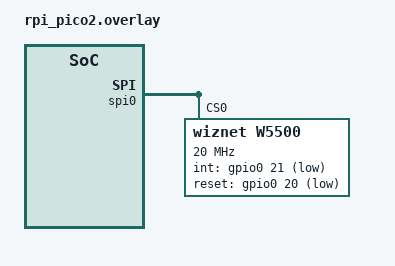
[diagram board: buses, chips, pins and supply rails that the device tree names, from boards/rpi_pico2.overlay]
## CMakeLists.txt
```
# SPDX-License-Identifier: Apache-2.0

cmake_minimum_required(VERSION 3.20.0)

find_package(Zephyr REQUIRED HINTS $ENV{ZEPHYR_BASE})
project(hello_world)

add_subdirectory(src)

add_llext_target(
  extension1
  OUTPUT ext1.llext
  SOURCES ./src/ext1.c ./src/embench/beebsc.c
)
```

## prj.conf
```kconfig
CONFIG_LLEXT=y
CONFIG_LLEXT_HEAP_SIZE=16
CONFIG_LLEXT_TYPE_ELF_RELOCATABLE=y # supported by all targets

# Dejar activado para rpi_pico2
CONFIG_BOOTLOADER_REGION_PROTECTION_ENABLE=n
CONFIG_MAIN_STACK_SIZE=4096

CONFIG_LOG=y
CONFIG_LLEXT_LOG_LEVEL_DBG=n

CONFIG_NETWORKING=y
CONFIG_NET_IPV4=y
CONFIG_NET_IPV6=n  # enable if needed
CONFIG_NET_DHCPV4=y
# CONFIG_WIFI=y
CONFIG_EXECUTE_XOR_WRITE=n

CONFIG_NET_MGMT=y
#CONFIG_ETHERNET=1
CONFIG_NET_SOCKETS=y
CONFIG_POSIX_API=y
CONFIG_MAX_THREAD_BYTES=3


#CONFIG_ENTROPY_GENERATOR=y
#CONFIG_ENTROPY_DEVICE_RANDOM_GENERATOR=y
#
# La rpi pico no tiene hardware para generar
# aleatoriedad, por lo que hay que poner esta
# opción para generarlos via software. (No es
# seguro)
CONFIG_TEST_RANDOM_GENERATOR=y 


CONFIG_MPU=y
CONFIG_ARM_MPU=y
CONFIG_USERSPACE=y
CONFIG_DYNAMIC_THREAD=y
CONFIG_DYNAMIC_THREAD_ALLOC=y
# Supongo que solo puede haber 8 hilos
# por limitación MPU
CONFIG_DYNAMIC_THREAD_POOL_SIZE=8
CONFIG_LLEXT_HEAP_DYNAMIC=y
CONFIG_LLEXT_EDK_USERSPACE_ONLY=y

#CONFIG_MPU_LOG_LEVEL_DBG=y
#CONFIG_LOG_MODE_IMMEDIATE=y
CONFIG_APPLICATION_DEFINED_SYSCALL=y
# Temporal, no se como hacerlo de otra forma
CONFIG_EMIT_ALL_SYSCALLS=y
#CONFIG_COMMON_LIBC_MALLOC_ARENA_SIZE=4096
CONFIG_HEAP_MEM_POOL_SIZE=4096


CONFIG_ZBUS=y
CONFIG_ZBUS_LOG_LEVEL_INF=y
CONFIG_ZBUS_CHANNEL_NAME=y
CONFIG_ZBUS_OBSERVER_NAME=y
CONFIG_ZBUS_RUNTIME_OBSERVERS=y
CONFIG_ZBUS_ASYNC_LISTENER=y
CONFIG_ZBUS_RUNTIME_OBSERVERS_NODE_ALLOC_DYNAMIC=y
CONFIG_ZBUS_RUNTIME_OBSERVERS=y

CONFIG_NUM_MBOX_ASYNC_MSGS=10
CONFIG_HTTP_CLIENT=y

CONFIG_NET_L2_ETHERNET=y
```

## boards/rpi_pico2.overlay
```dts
/ {
    aliases {
        ethernet0 = &w5500;
    };
};

&spi0 {
    status = "okay";

    w5500: ethernet@0 {
        compatible = "wiznet,w5500";
        reg = <0>;
        spi-max-frequency = <20000000>;
        int-gpios = <&gpio0 21 GPIO_ACTIVE_LOW>;
        reset-gpios = <&gpio0 20 GPIO_ACTIVE_LOW>;
        status = "okay";
    };
};
```

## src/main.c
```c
#include <zephyr/logging/log.h>
#include <zephyr/kernel.h>
#include <zephyr/net/net_if.h>
#include <zephyr/net/net_ip.h>
#include "./llextc/llextc.h"
#include "oci/parser.h"
#include "neta/wifi.h"
#include "neta/http.h"

	#include <zephyr/kernel.h>
#include <zephyr/net/net_if.h>
#include <zephyr/net/net_ip.h>
#include <zephyr/net/net_core.h>

LOG_MODULE_REGISTER(app);


//void entry(void *ext_start, void *p2, void *p3) {
//
//	LOG_INF("ext start: %p, memoria :%p", ext_start, user_mem);
//	void (*start)() = ext_start; 
//	start();
//}

int main(void) {

	struct oci_ref_t oci;
	oci_error_t res = parse_oci_ref("gulis/temporal:2.0", &oci);
	LOG_INF("Nombre: %s", oci.namespace);
	LOG_INF("Digest: %s", oci.digest);
	LOG_INF("Tag: %s", oci.tag);
	LOG_INF("Registry: %s", oci.registry);
	LOG_INF("Repository: %s", oci.repository);

	configure_static_ip();
	k_msleep(5000);
	//run_queries();
	//
	
	 struct net_if *iface = net_if_get_default();
	struct net_if_addr *addr;
    char buf[NET_IPV4_ADDR_LEN];

	//LOG_INF("Hola!");
	//if (llextc_init()) {
	//	LOG_ERR("Failed to init llextc");
	//	return 1;
	//}
	//if (llextc_container_run("1_contenedor", "imagen_prueba")) {
	//	LOG_ERR("llextc_run_image failed");
	//}

	/* if (llextc_container_run("2_contenedor", "imagen_prueba")) { */
	/* 	LOG_ERR("llextc_run_image failed"); */
	/* } */
	//LOG_INF("Adios!");
	//   struct http_client_req req;


	return 0;
}
```

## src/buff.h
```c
unsigned char ext1_buf[] = {
  0x7f, 0x45, 0x4c, 0x46, 0x01, 0x01, 0x01, 0x00, 0x00, 0x00, 0x00, 0x00,
  0x00, 0x00, 0x00, 0x00, 0x01, 0x00, 0x28, 0x00, 0x01, 0x00, 0x00, 0x00,
  0x00, 0x00, 0x00, 0x00, 0x00, 0x00, 0x00, 0x00, 0xc0, 0x06, 0x00, 0x00,
  0x00, 0x00, 0x00, 0x05, 0x34, 0x00, 0x00, 0x00, 0x00, 0x00, 0x28, 0x00,
  0x0d, 0x00, 0x0c, 0x00, 0x80, 0xb5, 0x00, 0xaf, 0x03, 0x49, 0x04, 0x48,
  0x04, 0x4b, 0x98, 0x47, 0x00, 0x23, 0x18, 0x46, 0x80, 0xbd, 0x00, 0xbf,
  0x00, 0x00, 0x00, 0x00, 0x00, 0x00, 0x00, 0x00, 0x00, 0x00, 0x00, 0x00,
  0x80, 0xb4, 0x00, 0xaf, 0x03, 0x4b, 0x1b, 0x68, 0x1b, 0x14, 0x18, 0x46,
  0xbd, 0x46, 0x5d, 0xf8, 0x04, 0x7b, 0x70, 0x47, 0x00, 0x00, 0x00, 0x00,
  0x80, 0xb4, 0x83, 0xb0, 0x00, 0xaf, 0x78, 0x60, 0x00, 0xbf, 0x0c, 0x37,
  0xbd, 0x46, 0x5d, 0xf8, 0x04, 0x7b, 0x70, 0x47, 0x80, 0xb4, 0x83, 0xb0,
  0x00, 0xaf, 0x78, 0x60, 0x39, 0x60, 0x09, 0x4a, 0x7b, 0x68, 0x13, 0x60,
  0x07, 0x4b, 0x1a, 0x68, 0x3b, 0x68, 0x13, 0x44, 0x06, 0x4a, 0x13, 0x60,
  0x06, 0x4b, 0x00, 0x22, 0x1a, 0x60, 0x00, 0xbf, 0x0c, 0x37, 0xbd, 0x46,
  0x5d, 0xf8, 0x04, 0x7b, 0x70, 0x47, 0x00, 0xbf, 0x00, 0x00, 0x00, 0x00,
  0x00, 0x00, 0x00, 0x00, 0x00, 0x00, 0x00, 0x00, 0x80, 0xb4, 0x83, 0xb0,
  0x00, 0xaf, 0x78, 0x60, 0x08, 0x4b, 0x1b, 0x68, 0x7a, 0x68, 0x1a, 0x44,
  0x07, 0x4b, 0x1b, 0x68, 0x9a, 0x42, 0x94, 0xbf, 0x01, 0x23, 0x00, 0x23,
  0xdb, 0xb2, 0x18, 0x46, 0x0c, 0x37, 0xbd, 0x46, 0x5d, 0xf8, 0x04, 0x7b,
  0x70, 0x47, 0x00, 0xbf, 0x00, 0x00, 0x00, 0x00, 0x00, 0x00, 0x00, 0x00,
  0x80, 0xb4, 0x87, 0xb0, 0x00, 0xaf, 0x78, 0x60, 0x7b, 0x68, 0x00, 0x2b,
  0x01, 0xd1, 0x00, 0x23, 0x39, 0xe0, 0x20, 0x4b, 0x1a, 0x68, 0x7b, 0x68,
  0x13, 0x44, 0x7b, 0x61, 0x1e, 0x4b, 0x1a, 0x68, 0x7b, 0x68, 0x13, 0x44,
  0x1c, 0x4a, 0x13, 0x60, 0x04, 0x23, 0x3b, 0x61, 0x7b, 0x69, 0x3a, 0x69,
  0xb3, 0xfb, 0xf2, 0xf2, 0x39, 0x69, 0x01, 0xfb, 0x02, 0xf2, 0x9b, 0x1a,
  0x00, 0x2b, 0x14, 0xd0, 0x7b, 0x69, 0x3a, 0x69, 0xb3, 0xfb, 0xf2, 0xf2,
  0x39, 0x69, 0x01, 0xfb, 0x02, 0xf2, 0x9b, 0x1a, 0x3a, 0x69, 0xd3, 0x1a,
  0xfb, 0x60, 0x7a, 0x69, 0xfb, 0x68, 0x13, 0x44, 0x7b, 0x61, 0x0e, 0x4b,
  0x1a, 0x68, 0xfb, 0x68, 0x13, 0x44, 0x0c, 0x4a, 0x13, 0x60, 0x0c, 0x4b,
  0x1b, 0x68, 0x7a, 0x69, 0x9a, 0x42, 0x01, 0xd9, 0x00, 0x23, 0x06, 0xe0,
  0x06, 0x4b, 0x1b, 0x68, 0xbb, 0x60, 0x05, 0x4a, 0x7b, 0x69, 0x13, 0x60,
  0xbb, 0x68, 0x18, 0x46, 0x1c, 0x37, 0xbd, 0x46, 0x5d, 0xf8, 0x04, 0x7b,
  0x70, 0x47, 0x00, 0xbf, 0x00, 0x00, 0x00, 0x00, 0x00, 0x00, 0x00, 0x00,
  0x00, 0x00, 0x00, 0x00, 0x80, 0xb5, 0x84, 0xb0, 0x00, 0xaf, 0x78, 0x60,
  0x39, 0x60, 0x7b, 0x68, 0x3a, 0x68, 0x02, 0xfb, 0x03, 0xf3, 0x18, 0x46,
  0xff, 0xf7, 0xfe, 0xff, 0xf8, 0x60, 0xfb, 0x68, 0x00, 0x2b, 0x08, 0xd0,
  0x7b, 0x68, 0x3a, 0x68, 0x02, 0xfb, 0x03, 0xf3, 0x1a, 0x46, 0x00, 0x21,
  0xf8, 0x68, 0x03, 0x4b, 0x98, 0x47, 0xfb, 0x68, 0x18, 0x46, 0x10, 0x37,
  0xbd, 0x46, 0x80, 0xbd, 0x00, 0x00, 0x00, 0x00, 0x80, 0xb5, 0x84, 0xb0,
  0x00, 0xaf, 0x78, 0x60, 0x39, 0x60, 0x7b, 0x68, 0x00, 0x2b, 0x01, 0xd1,
  0x00, 0x23, 0x19, 0xe0, 0x38, 0x68, 0xff, 0xf7, 0xfe, 0xff, 0xb8, 0x60,
  0xbb, 0x68, 0x00, 0x2b, 0x11, 0xd0, 0x00, 0x23, 0xfb, 0x60, 0x0a, 0xe0,
  0x7a, 0x68, 0xfb, 0x68, 0x1a, 0x44, 0xb9, 0x68, 0xfb, 0x68, 0x0b, 0x44,
  0x12, 0x78, 0x1a, 0x70, 0xfb, 0x68, 0x01, 0x33, 0xfb, 0x60, 0xfa, 0x68,
  0x3b, 0x68, 0x9a, 0x42, 0xf0, 0xd3, 0xbb, 0x68, 0x18, 0x46, 0x10, 0x37,
  0xbd, 0x46, 0x80, 0xbd, 0x80, 0xb4, 0x83, 0xb0, 0x00, 0xaf, 0x78, 0x60,
  0x00, 0xbf, 0x0c, 0x37, 0xbd, 0x46, 0x5d, 0xf8, 0x04, 0x7b, 0x70, 0x47,
  0x48, 0x6f, 0x6c, 0x61, 0x20, 0x64, 0x65, 0x73, 0x64, 0x65, 0x20, 0x63,
  0x6f, 0x6e, 0x74, 0x65, 0x6e, 0x65, 0x64, 0x6f, 0x72, 0x20, 0x25, 0x73,
  0x00, 0x00, 0x00, 0x00, 0x65, 0x6e, 0x76, 0x00, 0x73, 0x74, 0x61, 0x72,
  0x74, 0x00, 0x00, 0x00, 0x1c, 0x00, 0x00, 0x00, 0x00, 0x00, 0x00, 0x00,
  0x20, 0x00, 0x00, 0x00, 0x00, 0x00, 0x00, 0x00, 0x00, 0x47, 0x43, 0x43,
  0x3a, 0x20, 0x28, 0x5a, 0x65, 0x70, 0x68, 0x79, 0x72, 0x20, 0x53, 0x44,
  0x4b, 0x20, 0x30, 0x2e, 0x31, 0x37, 0x2e, 0x34, 0x29, 0x20, 0x31, 0x32,
  0x2e, 0x32, 0x2e, 0x30, 0x00, 0x00, 0x47, 0x43, 0x43, 0x3a, 0x20, 0x28,
  0x5a, 0x65, 0x70, 0x68, 0x79, 0x72, 0x20, 0x53, 0x44, 0x4b, 0x20, 0x30,
  0x2e, 0x31, 0x37, 0x2e, 0x34, 0x29, 0x20, 0x31, 0x32, 0x2e, 0x32, 0x2e,
  0x30, 0x00, 0x41, 0x3b, 0x00, 0x00, 0x00, 0x61, 0x65, 0x61, 0x62, 0x69,
  0x00, 0x01, 0x31, 0x00, 0x00, 0x00, 0x05, 0x63, 0x6f, 0x72, 0x74, 0x65,
  0x78, 0x2d, 0x6d, 0x38, 0x35, 0x00, 0x06, 0x15, 0x07, 0x4d, 0x09, 0x03,
  0x0a, 0x08, 0x12, 0x04, 0x14, 0x01, 0x15, 0x01, 0x17, 0x03, 0x18, 0x01,
  0x19, 0x01, 0x1a, 0x01, 0x1c, 0x01, 0x1e, 0x06, 0x22, 0x01, 0x26, 0x01,
  0x2e, 0x01, 0x00, 0x00, 0x00, 0x00, 0x00, 0x00, 0x00, 0x00, 0x00, 0x00,
  0x00, 0x00, 0x00, 0x00, 0x00, 0x00, 0x00, 0x00, 0x00, 0x00, 0x00, 0x00,
  0x00, 0x00, 0x00, 0x00, 0x00, 0x00, 0x00, 0x00, 0x03, 0x00, 0x03, 0x00,
  0x01, 0x00, 0x00, 0x00, 0x00, 0x00, 0x00, 0x00, 0x00, 0x00, 0x00, 0x00,
  0x00, 0x00, 0x07, 0x00, 0x01, 0x00, 0x00, 0x00, 0x00, 0x00, 0x00, 0x00,
  0x00, 0x00, 0x00, 0x00, 0x00, 0x00, 0x03, 0x00, 0x04, 0x00, 0x00, 0x00,
  0x00, 0x00, 0x00, 0x00, 0x00, 0x00, 0x00, 0x00, 0x00, 0x00, 0x01, 0x00,
  0x01, 0x00, 0x00, 0x00, 0x14, 0x00, 0x00, 0x00, 0x00, 0x00, 0x00, 0x00,
  0x00, 0x00, 0x01, 0x00, 0x01, 0x00, 0x00, 0x00, 0x00, 0x00, 0x00, 0x00,
  0x00, 0x00, 0x00, 0x00, 0x00, 0x00, 0x04, 0x00, 0x01, 0x00, 0x00, 0x00,
  0x20, 0x00, 0x00, 0x00, 0x00, 0x00, 0x00, 0x00, 0x00, 0x00, 0x07, 0x00,
  0x04, 0x00, 0x00, 0x00, 0x20, 0x00, 0x00, 0x00, 0x00, 0x00, 0x00, 0x00,
  0x00, 0x00, 0x01, 0x00, 0x01, 0x00, 0x00, 0x00, 0x34, 0x00, 0x00, 0x00,
  0x00, 0x00, 0x00, 0x00, 0x00, 0x00, 0x01, 0x00, 0x04, 0x00, 0x00, 0x00,
  0x38, 0x00, 0x00, 0x00, 0x00, 0x00, 0x00, 0x00, 0x00, 0x00, 0x01, 0x00,
  0x01, 0x00, 0x00, 0x00, 0x7c, 0x00, 0x00, 0x00, 0x00, 0x00, 0x00, 0x00,
  0x00, 0x00, 0x01, 0x00, 0x04, 0x00, 0x00, 0x00, 0x88, 0x00, 0x00, 0x00,
  0x00, 0x00, 0x00, 0x00, 0x00, 0x00, 0x01, 0x00, 0x01, 0x00, 0x00, 0x00,
  0xb4, 0x00, 0x00, 0x00, 0x00, 0x00, 0x00, 0x00, 0x00, 0x00, 0x01, 0x00,
  0x04, 0x00, 0x00, 0x00, 0xbc, 0x00, 0x00, 0x00, 0x00, 0x00, 0x00, 0x00,
  0x00, 0x00, 0x01, 0x00, 0x01, 0x00, 0x00, 0x00, 0x50, 0x01, 0x00, 0x00,
  0x00, 0x00, 0x00, 0x00, 0x00, 0x00, 0x01, 0x00, 0x04, 0x00, 0x00, 0x00,
  0x5c, 0x01, 0x00, 0x00, 0x00, 0x00, 0x00, 0x00, 0x00, 0x00, 0x01, 0x00,
  0x01, 0x00, 0x00, 0x00, 0x98, 0x01, 0x00, 0x00, 0x00, 0x00, 0x00, 0x00,
  0x00, 0x00, 0x01, 0x00, 0x04, 0x00, 0x00, 0x00, 0x9c, 0x01, 0x00, 0x00,
  0x00, 0x00, 0x00, 0x00, 0x00, 0x00, 0x01, 0x00, 0x07, 0x00, 0x00, 0x00,
  0x89, 0x00, 0x00, 0x00, 0x34, 0x00, 0x00, 0x00, 0x12, 0x00, 0x01, 0x00,
  0x18, 0x00, 0x00, 0x00, 0x5d, 0x01, 0x00, 0x00, 0x40, 0x00, 0x00, 0x00,
  0x12, 0x00, 0x01, 0x00, 0x25, 0x00, 0x00, 0x00, 0xbd, 0x00, 0x00, 0x00,
  0xa0, 0x00, 0x00, 0x00, 0x12, 0x00, 0x01, 0x00, 0x32, 0x00, 0x00, 0x00,
  0x24, 0x00, 0x00, 0x00, 0x04, 0x00, 0x00, 0x00, 0x11, 0x00, 0x07, 0x00,
  0x3b, 0x00, 0x00, 0x00, 0x4d, 0x00, 0x00, 0x00, 0x3c, 0x00, 0x00, 0x00,
  0x12, 0x00, 0x01, 0x00, 0x4b, 0x00, 0x00, 0x00, 0x00, 0x00, 0x00, 0x00,
  0x00, 0x00, 0x00, 0x00, 0x10, 0x00, 0x00, 0x00, 0x52, 0x00, 0x00, 0x00,
  0x20, 0x00, 0x00, 0x00, 0x04, 0x00, 0x00, 0x00, 0x11, 0x00, 0x07, 0x00,
  0x57, 0x00, 0x00, 0x00, 0x00, 0x00, 0x00, 0x00, 0x00, 0x00, 0x00, 0x00,
  0x10, 0x00, 0x00, 0x00, 0x5e, 0x00, 0x00, 0x00, 0x9d, 0x01, 0x00, 0x00,
  0x50, 0x00, 0x00, 0x00, 0x12, 0x00, 0x01, 0x00, 0x6c, 0x00, 0x00, 0x00,
  0x28, 0x00, 0x00, 0x00, 0x04, 0x00, 0x00, 0x00, 0x11, 0x00, 0x07, 0x00,
  0x75, 0x00, 0x00, 0x00, 0x00, 0x00, 0x00, 0x00, 0x20, 0x00, 0x00, 0x00,
  0x11, 0x00, 0x07, 0x00, 0x79, 0x00, 0x00, 0x00, 0x39, 0x00, 0x00, 0x00,
  0x14, 0x00, 0x00, 0x00, 0x12, 0x00, 0x01, 0x00, 0x85, 0x00, 0x00, 0x00,
  0x01, 0x00, 0x00, 0x00, 0x20, 0x00, 0x00, 0x00, 0x12, 0x00, 0x01, 0x00,
  0x7a, 0x00, 0x00, 0x00, 0x21, 0x00, 0x00, 0x00, 0x18, 0x00, 0x00, 0x00,
  0x12, 0x00, 0x01, 0x00, 0x8b, 0x00, 0x00, 0x00, 0x2c, 0x00, 0x00, 0x00,
  0x04, 0x00, 0x00, 0x00, 0x11, 0x00, 0x07, 0x00, 0x9a, 0x00, 0x00, 0x00,
  0xed, 0x01, 0x00, 0x00, 0x14, 0x00, 0x00, 0x00, 0x12, 0x00, 0x01, 0x00,
  0x00, 0x24, 0x64, 0x00, 0x24, 0x74, 0x00, 0x63, 0x68, 0x65, 0x63, 0x6b,
  0x5f, 0x68, 0x65, 0x61, 0x70, 0x5f, 0x62, 0x65, 0x65, 0x62, 0x73, 0x00,
  0x63, 0x61, 0x6c, 0x6c, 0x6f, 0x63, 0x5f, 0x62, 0x65, 0x65, 0x62, 0x73,
  0x00, 0x6d, 0x61, 0x6c, 0x6c, 0x6f, 0x63, 0x5f, 0x62, 0x65, 0x65, 0x62,
  0x73, 0x00, 0x68, 0x65, 0x61, 0x70, 0x5f, 0x70, 0x74, 0x72, 0x00, 0x69,
  0x6e, 0x69, 0x74, 0x5f, 0x68, 0x65, 0x61, 0x70, 0x5f, 0x62, 0x65, 0x65,
  0x62, 0x73, 0x00, 0x70, 0x72, 0x69, 0x6e, 0x74, 0x6b, 0x00, 0x73, 0x65,
  0x65, 0x64, 0x00, 0x6d, 0x65, 0x6d, 0x73, 0x65, 0x74, 0x00, 0x72, 0x65,
  0x61, 0x6c, 0x6c, 0x6f, 0x63, 0x5f, 0x62, 0x65, 0x65, 0x62, 0x73, 0x00,
  0x68, 0x65, 0x61, 0x70, 0x5f, 0x65, 0x6e, 0x64, 0x00, 0x65, 0x6e, 0x76,
  0x00, 0x73, 0x72, 0x61, 0x6e, 0x64, 0x5f, 0x62, 0x65, 0x65, 0x62, 0x73,
  0x00, 0x73, 0x74, 0x61, 0x72, 0x74, 0x00, 0x68, 0x65, 0x61, 0x70, 0x5f,
  0x72, 0x65, 0x71, 0x75, 0x65, 0x73, 0x74, 0x65, 0x64, 0x00, 0x66, 0x72,
  0x65, 0x65, 0x5f, 0x62, 0x65, 0x65, 0x62, 0x73, 0x00, 0x00, 0x00, 0x00,
  0x14, 0x00, 0x00, 0x00, 0x02, 0x1d, 0x00, 0x00, 0x18, 0x00, 0x00, 0x00,
  0x02, 0x01, 0x00, 0x00, 0x1c, 0x00, 0x00, 0x00, 0x02, 0x18, 0x00, 0x00,
  0x34, 0x00, 0x00, 0x00, 0x02, 0x19, 0x00, 0x00, 0x7c, 0x00, 0x00, 0x00,
  0x02, 0x16, 0x00, 0x00, 0x80, 0x00, 0x00, 0x00, 0x02, 0x1c, 0x00, 0x00,
  0x84, 0x00, 0x00, 0x00, 0x02, 0x21, 0x00, 0x00, 0xb4, 0x00, 0x00, 0x00,
  0x02, 0x21, 0x00, 0x00, 0xb8, 0x00, 0x00, 0x00, 0x02, 0x1c, 0x00, 0x00,
  0x50, 0x01, 0x00, 0x00, 0x02, 0x16, 0x00, 0x00, 0x54, 0x01, 0x00, 0x00,
  0x02, 0x21, 0x00, 0x00, 0x58, 0x01, 0x00, 0x00, 0x02, 0x1c, 0x00, 0x00,
  0x70, 0x01, 0x00, 0x00, 0x0a, 0x15, 0x00, 0x00, 0x98, 0x01, 0x00, 0x00,
  0x02, 0x1a, 0x00, 0x00, 0xb2, 0x01, 0x00, 0x00, 0x0a, 0x15, 0x00, 0x00,
  0x00, 0x00, 0x00, 0x00, 0x02, 0x01, 0x00, 0x00, 0x04, 0x00, 0x00, 0x00,
  0x02, 0x1d, 0x00, 0x00, 0x08, 0x00, 0x00, 0x00, 0x02, 0x01, 0x00, 0x00,
  0x0c, 0x00, 0x00, 0x00, 0x02, 0x1f, 0x00, 0x00, 0x00, 0x2e, 0x73, 0x79,
  0x6d, 0x74, 0x61, 0x62, 0x00, 0x2e, 0x73, 0x74, 0x72, 0x74, 0x61, 0x62,
  0x00, 0x2e, 0x73, 0x68, 0x73, 0x74, 0x72, 0x74, 0x61, 0x62, 0x00, 0x2e,
  0x72, 0x65, 0x6c, 0x2e, 0x74, 0x65, 0x78, 0x74, 0x00, 0x2e, 0x72, 0x6f,
  0x64, 0x61, 0x74, 0x61, 0x00, 0x2e, 0x72, 0x65, 0x6c, 0x2e, 0x65, 0x78,
  0x70, 0x6f, 0x72, 0x74, 0x65, 0x64, 0x5f, 0x73, 0x79, 0x6d, 0x00, 0x2e,
  0x64, 0x61, 0x74, 0x61, 0x00, 0x2e, 0x62, 0x73, 0x73, 0x00, 0x2e, 0x63,
  0x6f, 0x6d, 0x6d, 0x65, 0x6e, 0x74, 0x00, 0x2e, 0x41, 0x52, 0x4d, 0x2e,
  0x61, 0x74, 0x74, 0x72, 0x69, 0x62, 0x75, 0x74, 0x65, 0x73, 0x00, 0x00,
  0x00, 0x00, 0x00, 0x00, 0x00, 0x00, 0x00, 0x00, 0x00, 0x00, 0x00, 0x00,
  0x00, 0x00, 0x00, 0x00, 0x00, 0x00, 0x00, 0x00, 0x00, 0x00, 0x00, 0x00,
  0x00, 0x00, 0x00, 0x00, 0x00, 0x00, 0x00, 0x00, 0x00, 0x00, 0x00, 0x00,
  0x00, 0x00, 0x00, 0x00, 0x1f, 0x00, 0x00, 0x00, 0x01, 0x00, 0x00, 0x00,
  0x06, 0x00, 0x00, 0x00, 0x00, 0x00, 0x00, 0x00, 0x34, 0x00, 0x00, 0x00,
  0x00, 0x02, 0x00, 0x00, 0x00, 0x00, 0x00, 0x00, 0x00, 0x00, 0x00, 0x00,
  0x04, 0x00, 0x00, 0x00, 0x00, 0x00, 0x00, 0x00, 0x1b, 0x00, 0x00, 0x00,
  0x09, 0x00, 0x00, 0x00, 0x40, 0x00, 0x00, 0x00, 0x00, 0x00, 0x00, 0x00,
  0xc4, 0x05, 0x00, 0x00, 0x78, 0x00, 0x00, 0x00, 0x0a, 0x00, 0x00, 0x00,
  0x01, 0x00, 0x00, 0x00, 0x04, 0x00, 0x00, 0x00, 0x08, 0x00, 0x00, 0x00,
  0x25, 0x00, 0x00, 0x00, 0x01, 0x00, 0x00, 0x00, 0x02, 0x00, 0x00, 0x00,
  0x00, 0x00, 0x00, 0x00, 0x34, 0x02, 0x00, 0x00, 0x26, 0x00, 0x00, 0x00,
  0x00, 0x00, 0x00, 0x00, 0x00, 0x00, 0x00, 0x00, 0x04, 0x00, 0x00, 0x00,
  0x00, 0x00, 0x00, 0x00, 0x31, 0x00, 0x00, 0x00, 0x01, 0x00, 0x00, 0x00,
  0x02, 0x00, 0x00, 0x00, 0x00, 0x00, 0x00, 0x00, 0x5c, 0x02, 0x00, 0x00,
  0x10, 0x00, 0x00, 0x00, 0x00, 0x00, 0x00, 0x00, 0x00, 0x00, 0x00, 0x00,
  0x04, 0x00, 0x00, 0x00, 0x00, 0x00, 0x00, 0x00, 0x2d, 0x00, 0x00, 0x00,
  0x09, 0x00, 0x00, 0x00, 0x40, 0x00, 0x00, 0x00, 0x00, 0x00, 0x00, 0x00,
  0x3c, 0x06, 0x00, 0x00, 0x20, 0x00, 0x00, 0x00, 0x0a, 0x00, 0x00, 0x00,
  0x04, 0x00, 0x00, 0x00, 0x04, 0x00, 0x00, 0x00, 0x08, 0x00, 0x00, 0x00,
  0x3f, 0x00, 0x00, 0x00, 0x01, 0x00, 0x00, 0x00, 0x03, 0x00, 0x00, 0x00,
  0x00, 0x00, 0x00, 0x00, 0x6c, 0x02, 0x00, 0x00, 0x00, 0x00, 0x00, 0x00,
  0x00, 0x00, 0x00, 0x00, 0x00, 0x00, 0x00, 0x00, 0x01, 0x00, 0x00, 0x00,
  0x00, 0x00, 0x00, 0x00, 0x45, 0x00, 0x00, 0x00, 0x08, 0x00, 0x00, 0x00,
  0x03, 0x00, 0x00, 0x00, 0x00, 0x00, 0x00, 0x00, 0x6c, 0x02, 0x00, 0x00,
  0x30, 0x00, 0x00, 0x00, 0x00, 0x00, 0x00, 0x00, 0x00, 0x00, 0x00, 0x00,
  0x04, 0x00, 0x00, 0x00, 0x00, 0x00, 0x00, 0x00, 0x4a, 0x00, 0x00, 0x00,
  0x01, 0x00, 0x00, 0x00, 0x30, 0x00, 0x00, 0x00, 0x00, 0x00, 0x00, 0x00,
  0x6c, 0x02, 0x00, 0x00, 0x42, 0x00, 0x00, 0x00, 0x00, 0x00, 0x00, 0x00,
  0x00, 0x00, 0x00, 0x00, 0x01, 0x00, 0x00, 0x00, 0x01, 0x00, 0x00, 0x00,
  0x53, 0x00, 0x00, 0x00, 0x03, 0x00, 0x00, 0x70, 0x00, 0x00, 0x00, 0x00,
  0x00, 0x00, 0x00, 0x00, 0xae, 0x02, 0x00, 0x00, 0x3c, 0x00, 0x00, 0x00,
  0x00, 0x00, 0x00, 0x00, 0x00, 0x00, 0x00, 0x00, 0x01, 0x00, 0x00, 0x00,
  0x00, 0x00, 0x00, 0x00, 0x01, 0x00, 0x00, 0x00, 0x02, 0x00, 0x00, 0x00,
  0x00, 0x00, 0x00, 0x00, 0x00, 0x00, 0x00, 0x00, 0xec, 0x02, 0x00, 0x00,
  0x30, 0x02, 0x00, 0x00, 0x0b, 0x00, 0x00, 0x00, 0x13, 0x00, 0x00, 0x00,
  0x04, 0x00, 0x00, 0x00, 0x10, 0x00, 0x00, 0x00, 0x09, 0x00, 0x00, 0x00,
  0x03, 0x00, 0x00, 0x00, 0x00, 0x00, 0x00, 0x00, 0x00, 0x00, 0x00, 0x00,
  0x1c, 0x05, 0x00, 0x00, 0xa5, 0x00, 0x00, 0x00, 0x00, 0x00, 0x00, 0x00,
  0x00, 0x00, 0x00, 0x00, 0x01, 0x00, 0x00, 0x00, 0x00, 0x00, 0x00, 0x00,
  0x11, 0x00, 0x00, 0x00, 0x03, 0x00, 0x00, 0x00, 0x00, 0x00, 0x00, 0x00,
  0x00, 0x00, 0x00, 0x00, 0x5c, 0x06, 0x00, 0x00, 0x63, 0x00, 0x00, 0x00,
  0x00, 0x00, 0x00, 0x00, 0x00, 0x00, 0x00, 0x00, 0x01, 0x00, 0x00, 0x00,
  0x00, 0x00, 0x00, 0x00
};
unsigned int ext1_buf_len = 2248;
```

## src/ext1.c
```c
#include "llextc/container_api/c_api.h"
#include "zephyr/sys/printk.h"
#include <stdint.h>
#include <zephyr/kernel/thread.h>
#include <zephyr/kernel.h>

struct llext_container_env env;



// TODO: bug rarísimo??? Si hago LOG_INF dos veces
// salta hard fault
int start() {
    printk("Hola desde contenedor %s", env.name);
    return 0;
}

EXPORT_SYMBOL(env);
EXPORT_SYMBOL(start);
```

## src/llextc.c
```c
#include <stdlib.h>
#include <string.h>
#include <zephyr/llext/buf_loader.h>
#include <zephyr/kernel/thread.h>
#include <zephyr/llext/llext.h>
#include <zephyr/logging/log.h>
#include "llextc.h"
#include "llextc_priv.h"
#include "syscalls/kernel.h"
#include "zephyr/kernel.h"
#include <zephyr/sys/uuid.h>

LOG_MODULE_REGISTER(llextc);


int llextc_init() {
	return llextc_init_priv();
}

int llextc_container_run(char *container_name, char *image_name) {

	char *c_name = k_malloc(strlen(container_name) + 1);
	if (c_name == NULL) {
		LOG_ERR("Failed to alloc memory for container name");
		return 1;
	}
	char *i_name = k_malloc(strlen(image_name) + 1);	
	if (i_name == NULL) {
		k_free(i_name);
		LOG_ERR("Failed to alloc memory for image name");
		return 1;
	}

	// TODO: free later.
	strcpy(c_name, container_name);
	strcpy(i_name, image_name);

	struct llextc_message msg = {
		.type = LLEXTC_MSG_RUN_IMAGE,
		.arg1 = c_name,
		.arg2 = i_name
	};

	return k_msgq_put(&llextc_msgq, &msg, K_FOREVER);
}

//void llextc_list_containers() {
//
//	//k_mutex_lock(&slot_mutex, K_FOREVER);
//	for (int i = 0; i < MAX_CONTAINERS; i++) {
//		if (container_slots[i].used) {
//			char *name = container_slots[i].name;
//			char *image = container_slots[i].image->name;
//			char *status = llextc_container_status_to_string(container_slots[i].status);
//			LOG_INF("Name: %s - Image: %s - Status: %s", name, image, status);
//		}
//	}
//	//k_mutex_unlock(&slot_mutex);
//}
```

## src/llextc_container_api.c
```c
#include "zephyr/sys/clock.h"
#include <stdint.h>
#include "llextc_container_api.h"
#include "llextc_priv.h"
#include <zephyr/logging/log.h>
#include "llextc_utils.h"

LOG_MODULE_REGISTER(llextc_api);

int z_impl_send_message(char *dst, void *msg, uint32_t msg_size) {
	return llextc_send_message(dst, msg, msg_size);
}
EXPORT_SYMBOL(z_impl_send_message);

#ifdef CONFIG_USERSPACE
#include <zephyr/syscalls/receive_message_mrsh.c>
int z_vrfy_receive_message(uint8_t *buff, char *sender, k_timeout_t timeout) {
	return z_impl_receive_message(buff, sender, timeout);
}
#endif

#ifdef CONFIG_USERSPACE
#include <zephyr/syscalls/send_message_mrsh.c>
int z_vrfy_send_message(char *dst, void *msg, uint32_t msg_size) {
	return z_impl_send_message(dst, msg, msg_size);
}
#endif

int z_impl_receive_message(uint8_t *buff, char *sender, k_timeout_t timeout) {
	return llextc_receive_message(buff, sender, timeout);	
}
EXPORT_SYMBOL(z_impl_receive_message);

#ifdef CONFIG_USERSPACE
#include <zephyr/syscalls/zbuss_publish_mrsh.c>
int z_vrfy_zbuss_publish(struct llextc_zbus_msg *msg, k_timeout_t timeout) {
	return z_impl_zbuss_publish(msg, timeout);
}
#endif


int z_impl_zbuss_publish(struct llextc_zbus_msg *msg, k_timeout_t timeout) {
	llextc_chan_pub(msg, timeout);
	return 0;
}
EXPORT_SYMBOL(z_impl_zbuss_publish);

#ifdef CONFIG_USERSPACE
#include <zephyr/syscalls/zbuss_receive_mrsh.c>
int z_vrfy_zbuss_receive(struct llextc_zbus_msg *msg, k_timeout_t timeout) {
	return z_impl_zbuss_receive(msg, timeout);
}
#endif


int z_impl_zbuss_receive(struct llextc_zbus_msg *msg, k_timeout_t timeout) {
	llextc_chan_read(msg, timeout);
	return 0;
}
EXPORT_SYMBOL(z_impl_zbuss_receive);
```

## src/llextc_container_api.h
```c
#pragma once
#include "zephyr/kernel/thread.h"
#include "zephyr/sys/clock.h"
#include <stdint.h>

#define LLEXTC_CONTAINER_MESSAGE_MAX_SIZE 32

typedef enum {
    LLEXTC_OK,
    LLEXTC_ERROR_UNKNOWN,
    LLEXTC_ERROR_MAX_CONTAINERS,
    LLEXTC_ERROR_UNKNOWN_IMAGE,
    LLEXTC_ERROR_INVALID_IMAGE,
    LLEXTC_ERROR_ALREADY_EXISTS,
    LLEXTC_ERROR_INVALID_DESTINATION,
    LLEXTC_ERROR_TIMEOUT,
    LLEXTC_ERROR_NOT_ENOUGH_SPACE
}llextc_ret_status;

struct llext_container_env {
    char name[32];
    // TODO
    // int argc;
    // char *argv[];
};

struct llextc_zbus_msg {
    int code;
    uint8_t msg[64];
};

__syscall int send_message(char *dst, void *msg, uint32_t msg_size);
__syscall int receive_message(uint8_t *buff, char *sender, k_timeout_t timeout);

__syscall int zbuss_publish(struct llextc_zbus_msg *msg, k_timeout_t timeout);
__syscall int zbuss_receive(struct llextc_zbus_msg *msg, k_timeout_t timeout);
#include <zephyr/syscalls/llextc_container_api.h>
```

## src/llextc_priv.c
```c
#include <stdint.h>
#include <string.h>
#include <zephyr/llext/buf_loader.h>
#include <zephyr/kernel/thread.h>
#include <zephyr/llext/llext.h>
#include <zephyr/logging/log.h>
#include "syscalls/kernel.h"
#include "zephyr/app_memory/mem_domain.h"
#include "zephyr/kernel.h"
#include "llextc.h"
#include "llextc_priv.h"
#include "buff.h"
#include "zephyr/sys/libc-hooks.h"
#include <zephyr/sys/uuid.h>
#include "llextc_container_api.h"
#include "llextc_utils.h"
#include <zephyr/zbus/zbus.h>

LOG_MODULE_REGISTER(llextc_priv);

// Mailbox
K_MBOX_DEFINE(llextc_mailbox);

struct k_thread llextc_main_thread;
K_THREAD_STACK_DEFINE(llextc_main_thread_stack, 1024);

char llext_msgq_buffer[10 * sizeof(struct llextc_message)];
struct k_msgq llextc_msgq;

/*
 * MEMORY DOMAIN
*/
k_mem_domain_t llextc_domain;
uint8_t __aligned(CODE_BUFFER_SIZE) llextc_code_buff[CODE_BUFFER_SIZE];
K_MEM_PARTITION_DEFINE(llextc_code_partition, llextc_code_buff, sizeof(llextc_code_buff), 
    				   K_MEM_PARTITION_P_RX_U_RX); // Importante que sea RX


// ZBUS
ZBUS_CHAN_DEFINE(llextc_zbus_chan, 
	struct llextc_zbus_msg,
	NULL,
	NULL,
	ZBUS_OBSERVERS_EMPTY,
	ZBUS_MSG_INIT(.code = -1)
);


// TEMPORAL
struct llextc_image test_image = {
	.name = "imagen_prueba",
	.status = LLEXTC_IMAGE_STATUS_READY,
	.code_buffer = ext1_buf
};

ZBUS_MSG_SUBSCRIBER_DEFINE(sub1);
ZBUS_MSG_SUBSCRIBER_DEFINE(sub2);
ZBUS_MSG_SUBSCRIBER_DEFINE(sub3);
ZBUS_MSG_SUBSCRIBER_DEFINE(sub4);

const struct zbus_observer *observers[] = {&sub1, &sub2, &sub3, &sub4};

// For now, keep stopped containers in the array
// to save the state. TODO: store container state
// in flash?
//K_MUTEX_DEFINE(slot_mutex);
struct llextc_container_slot container_slots[MAX_CONTAINERS];
int num_containers = 0;


#ifdef CONFIG_USERSPACE
#include <zephyr/syscalls/container_exit_mrsh.c>
void z_vrfy_container_exit() {
	return z_impl_container_exit();
}
#endif /* CONFIG_USERSPACE */

void z_impl_container_exit(void) {

	struct llextc_message msg = {
		.type = LLEXTC_MSG_CONTAINER_END,
		.arg1 = k_current_get()
	};
	k_msgq_put(&llextc_msgq, &msg, K_FOREVER);
}

int llextc_init_priv() {

    k_msgq_init(&llextc_msgq, llext_msgq_buffer, sizeof(struct llextc_message), 10);
	struct k_mem_partition *user_parts[] = {
		&z_libc_partition,
		&z_malloc_partition,
		&llextc_code_partition
	};

	for (int i = 0; i < MAX_CONTAINERS; i++) {
		container_slots[i].obs = observers[i];
	}

	if (k_mem_domain_init(&llextc_domain, ARRAY_SIZE(user_parts), user_parts)) {
		LOG_ERR("Failed to init llextc memory domain");
		return 1;
	}

	if (llext_heap_init(llextc_code_buff, sizeof(llextc_code_buff))) {
		LOG_ERR("Failted to init llext heap for llextc");
		return 1;
	}

	k_thread_create(&llextc_main_thread, llextc_main_thread_stack, 
	             sizeof(llextc_main_thread_stack), llextc_main_loop, 
	             NULL, NULL, NULL, 2, 0, K_NO_WAIT);

	return 0;
}

void llextc_main_loop() {

    LOG_DBG("Entered llext main loop");
	while (1) {
		
		struct llextc_message msg;
		int ret = k_msgq_get(&llextc_msgq, &msg, K_FOREVER);
		if (ret != 0) {
			LOG_WRN("k_msqg_get returned with error");
			continue;
		}
		
		if (msg.type == LLEXTC_MSG_RUN_IMAGE) {
			char *name = (char* ) msg.arg1;
			char *image = (char*) msg.arg2;
		    LOG_INF("Run image msg received: %s", image);
			llextc_run_msg_handler(name, image);
		}

		if (msg.type == LLEXTC_MSG_CONTAINER_END) {
			LOG_INF("Received end container message");
			k_tid_t tid = msg.arg1;
			llextc_container_end_handler(tid);
		}
    }
}

int llextc_container_end_handler(k_tid_t tid) {

	struct llextc_container_slot *slot = get_slot_by_tid(tid);
	k_thread_join(tid, K_FOREVER);
	k_thread_stack_free(slot->stack);
	slot->status = LLEXTC_CONTAINER_STATUS_FINISHED;
	zbus_chan_rm_obs(&llextc_zbus_chan, slot->obs, K_FOREVER);
	LOG_INF("Container %s finished", slot->name);
	return 0;
}

// Message handlers.
//
int llextc_run_msg_handler(char *container_name, char *image_name) {

	int ret = 0;
	//k_mutex_lock(&slot_mutex, K_FOREVER);
	if (num_containers == MAX_CONTAINERS) {
		LOG_ERR("Maximum number of containers reached");
		ret = LLEXTC_ERROR_MAX_CONTAINERS;
		goto name_free;
	}

	if (strcmp(image_name, test_image.name)) {
		LOG_ERR("Unknown image: %s", image_name);
		ret = LLEXTC_ERROR_UNKNOWN_IMAGE;
		goto name_free;
	}
	
	int free_ind = 0;
	while (container_slots[free_ind].used)
		free_ind++;

	struct llextc_container_slot *free_slot = &container_slots[free_ind];

	struct llext_buf_loader ext1_loader = LLEXT_TEMPORARY_BUF_LOADER(ext1_buf, sizeof(ext1_buf));
	struct llext_load_param load_params = LLEXT_LOAD_PARAM_DEFAULT;
	// TODO: hacer unload cuando se borre el contenedor.
	if (llext_load(&ext1_loader.loader, container_name, &free_slot->llext, &load_params)) {
		LOG_ERR("Failed to load extension of image %s", image_name);
		ret = LLEXTC_ERROR_UNKNOWN;
		goto name_free;
	}
	
	free_slot->name = container_name;
	free_slot->image = &test_image;
	if (start_container(free_slot)) {
		LOG_ERR("Failed to start container");
		ret = LLEXTC_ERROR_UNKNOWN;
		goto extension_unload;
	}
	free_slot->used = 1;
	goto end;

// Error handling.
// Cuidado, que si los nombres no están en el heap esto peta.
extension_unload:
	llext_unload(&free_slot->llext);

name_free:
	k_free(container_name);
end:
	k_free(image_name);
	//k_mutex_unlock(&slot_mutex);
	return ret;
}

void thread_entry(void *ext_entry, void *p2, void *p3) {

	//struct llextc_container_slot *slot = (struct llextc_container_slot*) p1;
	LOG_INF("Entered user thread (%p)", k_current_get());

	void (*ext_start)() = ext_entry; 
	ext_start();

	//arch_syscall_invoke0(uintptr_t call_id)
	container_exit();
	LOG_INF("Thread acabando");
}

// Must be called with mutex locked.
int start_container(struct llextc_container_slot *slot) {
	
	void (*ext_start)() = llext_find_sym(&slot->llext->exp_tab, "start");
	if (ext_start == NULL) {
		LOG_ERR("Failed to find entrypoint for container %s", slot->name);
		return LLEXTC_ERROR_INVALID_IMAGE;
	}

	struct llext_container_env *container_env = (struct llext_container_env*) llext_find_sym(&slot->llext->exp_tab, "env");
	if (container_env != NULL) {
		LOG_INF("Setting envs for container %s", slot->name);
		strncpy(container_env->name, slot->name, sizeof(container_env->name));
	}

	if (zbus_chan_add_obs(&llextc_zbus_chan, slot->obs, K_FOREVER)) {
		LOG_ERR("AAAAAAAAAAAAAAAAAAAAAAAAAAAAAAAAAAAA");
		return 1;
	}

	k_thread_stack_t *stack = k_thread_stack_alloc(1024, 0);
	if (stack == NULL) {
	    LOG_ERR("Failed to allocate stack for container %s", slot->name);
		return 1;
	}

	slot->stack = stack;

	k_tid_t tid = k_thread_create(&slot->thread, stack, 1024, 
							   thread_entry, ext_start, NULL, NULL, 8, K_USER, K_FOREVER);

	if (k_mem_domain_add_thread(&llextc_domain, tid)) {
		LOG_INF("Failed to add thread to llextc memory domain");
		return 1;
	}

	k_thread_start(tid);
	slot->status = LLEXTC_CONTAINER_STATUS_RUNNING;
	LOG_INF("Started container thread with id %p", tid);
	return 0;
}

struct llextc_container_slot *get_container_slots() {
	return container_slots;
}

int llextc_send_message(char *dst, void *msg, uint32_t msg_size) {

	LOG_INF("thread %p enter send_message syscall", k_current_get());
	struct llextc_container_slot *dst_slot = get_slot_by_container_name(dst);
	if (dst_slot == NULL) {
		LOG_ERR("send_message: invalid destination 1");
		return LLEXTC_ERROR_INVALID_DESTINATION;
	}
	if (dst_slot->status != LLEXTC_CONTAINER_STATUS_RUNNING && dst_slot->status != LLEXTC_CONTAINER_STATUS_PAUSED) {
		LOG_ERR("send_message: invalid destination 2");
		return LLEXTC_ERROR_INVALID_DESTINATION;
	}
	
	if (msg_size > LLEXTC_CONTAINER_MESSAGE_MAX_SIZE) {
		LOG_ERR("send_message: message too big");
		return LLEXTC_ERROR_NOT_ENOUGH_SPACE;
	}

	k_tid_t dst_tid = &dst_slot->thread;
	char *msg_buff = k_malloc(msg_size);
	memcpy(msg_buff, msg, msg_size);
	struct k_mbox_msg mbox_msg = {
		.info = (uint32_t) k_current_get(), // Sender tid in the info field
		.tx_data = msg_buff,
		.size = msg_size,
		.tx_target_thread = dst_tid
	};

	LOG_INF("Sending message from thread %p, to thread %p", k_current_get(), dst_tid);
	k_mbox_async_put(&llextc_mailbox, &mbox_msg, NULL);
	LOG_INF("lkjlkjlkjlkjlkj");
	return LLEXTC_OK;
}


int llextc_receive_message(uint8_t *buff, char *sender, k_timeout_t timeout) {

	LOG_INF("thread %p enter receive_message syscall", k_current_get());
	struct k_mbox_msg msg = {
		.info = 100,
		.size = LLEXTC_CONTAINER_MESSAGE_MAX_SIZE,
		.rx_source_thread = K_ANY
	};

	int ret = k_mbox_get(&llextc_mailbox, &msg, buff, timeout);
	if (ret)
		return 0;

	LOG_INF("FALLO MIO\n");
	LOG_INF("MSG info received: %p", (k_tid_t) msg.info);
	struct llextc_container_slot *slot = get_slot_by_tid((k_tid_t) msg.info);
	strcpy(sender, slot->name);
	return msg.size;	
}

int llextc_chan_pub(struct llextc_zbus_msg *msg, k_timeout_t timeout) {
	LOG_INF("LLEXTCPUB MSG: %s", msg->msg);
	return zbus_chan_pub(&llextc_zbus_chan, msg, timeout);
}

int llextc_chan_read(struct llextc_zbus_msg *msg, k_timeout_t timeout) {

	struct llextc_container_slot *slot = get_slot_by_tid(k_current_get());
	const struct zbus_channel *chan;
	zbus_sub_wait_msg(slot->obs, &chan, msg, K_FOREVER);
	return zbus_chan_read(&llextc_zbus_chan, msg, K_FOREVER);
	//return zbus_sub_wait_msg(slot->obs, &chan, msg, K_FOREVER);
}
```

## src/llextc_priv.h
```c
#pragma once

#include "llextc_container_api.h"
#include "zephyr/llext/llext.h"
#include "llextc.h"
#include "zephyr/zbus/zbus.h"

typedef enum {
    LLEXTC_MSG_RUN_IMAGE,
    LLEXTC_MSG_STOP_CONTAINER,
    LLEXTC_MSG_PAUSE_CONTAINER,
    LLEXTC_MSG_CONTAINER_END
}llextc_message_type;

struct llextc_message {
    llextc_message_type type;
    void *arg1;
    void *arg2;
    void *arg3;
};

struct llextc_container_slot {
    int used;
    char *name;
    llextc_container_status status;
    k_thread_stack_t *stack;
    struct llext *llext;
    // Executable memory partition, where the code
    // for the llext extension will be stored. 
    // A bit redundant, but convenient struct field.
    uint8_t *memory_partition;
    // TODO heap
    struct k_thread thread;
    struct llextc_image *image;
    const struct zbus_observer *obs;
};



//extern struct llextc_container_slot container_slots[];

extern char llext_msgq_buffer[10 * sizeof(struct llextc_message)];
extern struct k_msgq llextc_msgq;

char *llextc_container_status_to_string(llextc_container_status status);
int llextc_run_msg_handler(char *container_name, char *image_name);
void llextc_main_loop();
void thread_entry(void *ext_entry, void *p1, void *p2);
int start_container(struct llextc_container_slot *slot);
int llextc_init_priv();
int llextc_container_end_handler(k_tid_t tid);

struct llextc_container_slot *get_container_slots();
int llextc_chan_pub(struct llextc_zbus_msg *msg, k_timeout_t timeout);
int llextc_chan_read(struct llextc_zbus_msg *msg, k_timeout_t timeout);
int llextc_send_message(char *dst, void *msg, uint32_t msg_size);
int llextc_receive_message(uint8_t *buff, char *sender, k_timeout_t timeout);

__syscall void container_exit(void);
#include <zephyr/syscalls/llextc_priv.h>
```

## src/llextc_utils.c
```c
#include "llextc.h"
#include "llextc_priv.h"
#include "llextc_container_api.h"

char *llext_container_status_string[] = {
    "NO_IMAGE",
    "STOPPED",
    "PAUSED",
    "RUNNING",
    "FINISHED"
};

char *llextc_container_status_to_string(llextc_container_status status) {
    return llext_container_status_string[status];
}

struct llextc_container_slot* get_slot_by_container_name(char *name) {

    struct llextc_container_slot *slots = get_container_slots();
    for (int i = 0; i < MAX_CONTAINERS; i++) {
        if (!strcmp(name, slots[i].name)) {
            return &slots[i];
        }
    }

    return NULL;
}

struct llextc_container_slot* get_slot_by_tid(k_tid_t tid) {
    
    struct llextc_container_slot *slots = get_container_slots();
	for (int i = 0; i < MAX_CONTAINERS; i++) {
		if (&slots[i].thread == tid) 
            return &slots[i];
	}

	return NULL;
}
```
